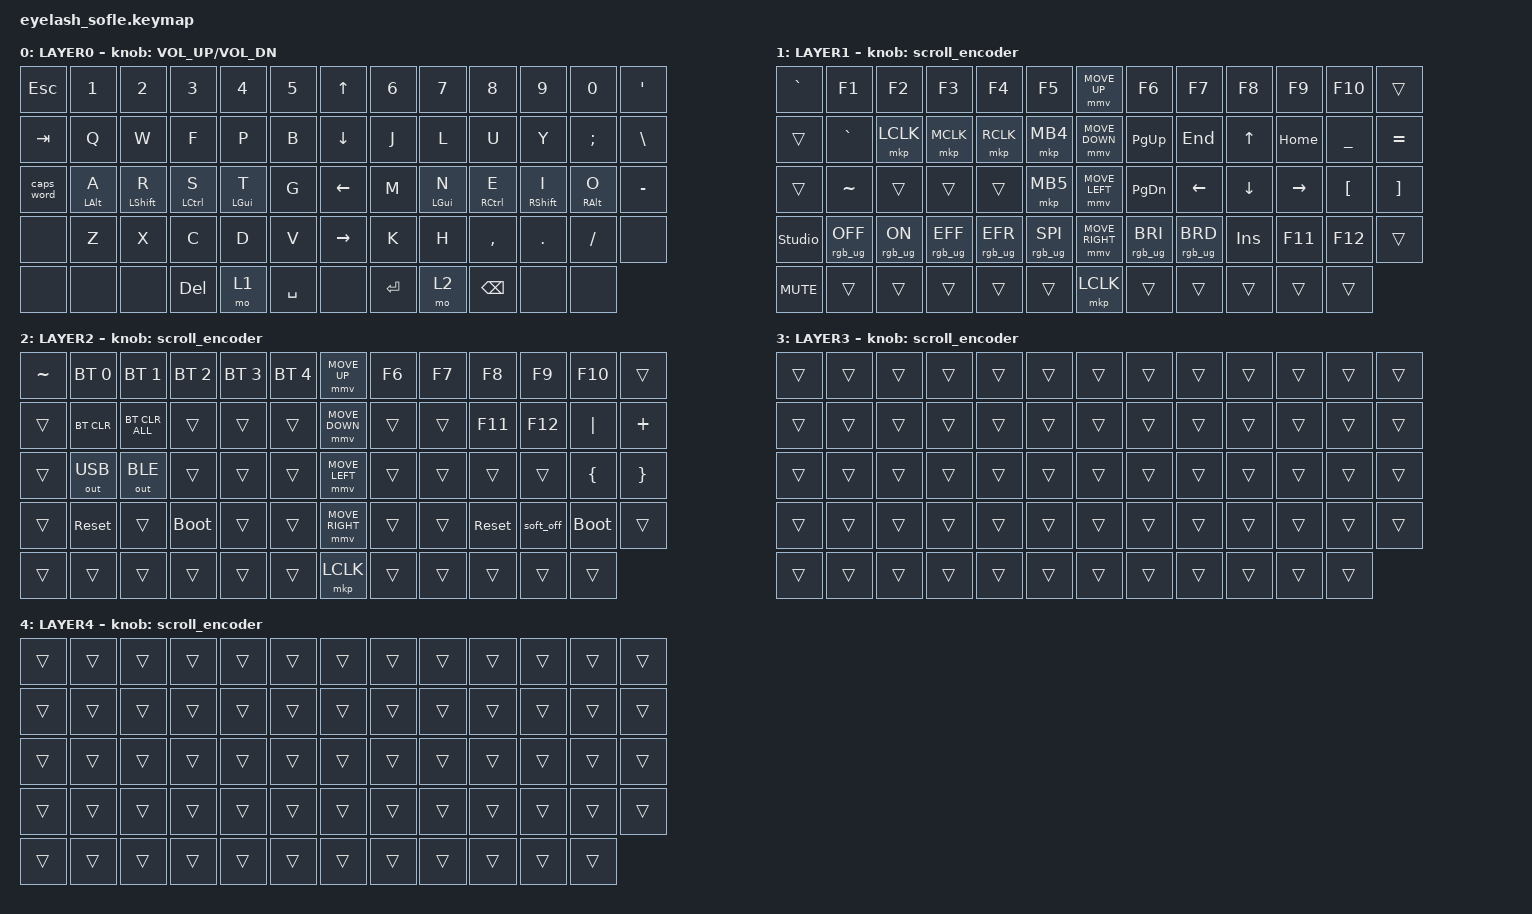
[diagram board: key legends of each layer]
#define ZMK_POINTING_DEFAULT_MOVE_VAL 1200  // 600
#define ZMK_POINTING_DEFAULT_SCRL_VAL 25   // 10

#include <input/processors.dtsi>
#include <zephyr/dt-bindings/input/input-event-codes.h>
#include <behaviors.dtsi>
#include <dt-bindings/zmk/bt.h>
#include <dt-bindings/zmk/keys.h>
#include <dt-bindings/zmk/outputs.h>
#include <dt-bindings/zmk/pointing.h>
#include <dt-bindings/zmk/rgb.h>

&mmv_input_listener { input-processors = <&zip_xy_scaler 2 1>; };

&msc_input_listener { input-processors = <&zip_scroll_scaler 2 1>; };

&msc {
    acceleration-exponent = <1>;      // 0
    time-to-max-speed-ms = <100>;       // 300
    delay-ms = <0>;                   // 0
};

&mmv {
    time-to-max-speed-ms = <500>;
    acceleration-exponent = <1>;
    trigger-period-ms = <16>;
};

&mt {
    flavor = "balanced";
    tapping-term-ms = <280>;
    quick-tap-ms = <175>;
    require-prior-idle-ms = <150>;
    hold-trigger-on-release;
};

&soft_off { hold-time-ms = <2000>; };

/ {
    scroll_encoder: scroll_encoder {
        compatible = "zmk,behavior-sensor-rotate";
        #sensor-binding-cells = <0>;
        bindings = <&msc SCRL_DOWN>, <&msc SCRL_UP>;
        tap-ms = <100>;
    };

    behaviors {
    };

    combos {
        compatible = "zmk,combos";

        softoff {
            bindings = <&soft_off>;
            key-positions = <14 28 40>;
        };
    };

    macros {
        SHIFT_MCLK: SHIFT_MCLK {
            compatible = "zmk,behavior-macro";
            #binding-cells = <0>;
            bindings =
                <&macro_press>,
                <&kp LEFT_SHIFT>,
                <&macro_press>,
                <&mkp MB3>,
                <&macro_pause_for_release>,
                <&macro_release>,
                <&kp LEFT_SHIFT &mkp MB3>;

            label = "SHIFT_MCLK";
        };
    };

    keymap {
        compatible = "zmk,keymap";

        layer0 {
            bindings = <
&kp ESC     &kp N1       &kp N2        &kp N3        &kp N4     &kp N5       &kp UP_ARROW     &kp N6     &kp N7       &kp N8       &kp N9        &kp N0      &kp APOS
&kp TAB     &kp Q        &kp W         &kp F         &kp P      &kp B        &kp DOWN_ARROW   &kp J      &kp L        &kp U        &kp Y         &kp SEMI    &kp BSLH
&caps_word  &mt LALT A   &mt LSHFT R   &mt LCTRL S   &mt LGUI T &kp G        &kp LEFT_ARROW   &kp M      &mt LGUI N   &mt RCTRL E  &mt RSHFT I   &mt RALT O  &kp MINUS
&none       &kp Z        &kp X         &kp C         &kp D      &kp V        &kp RIGHT_ARROW  &kp K      &kp H        &kp COMMA    &kp DOT       &kp FSLH    &none
&none       &none        &none         &kp DEL       &mo 1      &kp SPACE    &none            &kp ENTER  &mo 2        &kp BSPC     &none         &none
            >;

            sensor-bindings = <&inc_dec_kp C_VOLUME_UP C_VOL_DN>;
            display-name = "LAYER0";
        };

        layer_1 {
            bindings = <
&kp GRAVE      &kp F1           &kp F2          &kp F3           &kp F4           &kp F5             &mmv MOVE_UP     &kp F6           &kp F7           &kp F8      &kp F9     &kp F10           &trans
&trans         &kp GRAVE        &mkp LCLK       &mkp MCLK        &mkp RCLK        &mkp MB4           &mmv MOVE_DOWN   &kp PG_UP        &kp END          &kp UP      &kp HOME   &kp UNDER         &kp EQUAL
&trans         &kp TILDE        &trans          &trans           &trans           &mkp MB5           &mmv MOVE_LEFT   &kp PG_DN        &kp LEFT         &kp DOWN    &kp RIGHT  &kp LEFT_BRACKET  &kp RIGHT_BRACKET
&studio_unlock &rgb_ug RGB_OFF  &rgb_ug RGB_ON  &rgb_ug RGB_EFF  &rgb_ug RGB_EFR  &rgb_ug RGB_SPI    &mmv MOVE_RIGHT  &rgb_ug RGB_BRI  &rgb_ug RGB_BRD  &kp INSERT  &kp F11    &kp F12           &trans
&kp C_MUTE     &trans           &trans          &trans           &trans           &trans             &mkp LCLK        &trans           &trans           &trans      &trans     &trans
            >;

            display-name = "LAYER1";
            sensor-bindings = <&scroll_encoder>;
        };

        layer_2 {
            bindings = <
&kp TILDE  &bt BT_SEL 0  &bt BT_SEL 1    &bt BT_SEL 2  &bt BT_SEL 3  &bt BT_SEL 4    &mmv MOVE_UP     &kp F6  &kp F7  &kp F8      &kp F9     &kp F10      &trans
&trans     &bt BT_CLR    &bt BT_CLR_ALL  &trans        &trans        &trans          &mmv MOVE_DOWN   &trans  &trans  &kp F11     &kp F12    &kp PIPE     &kp PLUS
&trans     &out OUT_USB  &out OUT_BLE    &trans        &trans        &trans          &mmv MOVE_LEFT   &trans  &trans  &trans      &trans     &kp LBRC     &kp RBRC
&trans     &sys_reset    &trans          &bootloader   &trans        &trans          &mmv MOVE_RIGHT  &trans  &trans  &sys_reset  &soft_off  &bootloader  &trans
&trans     &trans        &trans          &trans        &trans        &trans          &mkp LCLK        &trans  &trans  &trans      &trans     &trans
            >;

            display-name = "LAYER2";
            sensor-bindings = <&scroll_encoder>;
        };

        layer_3 {
            bindings = <
&trans  &trans  &trans  &trans  &trans  &trans    &trans  &trans  &trans  &trans  &trans  &trans  &trans
&trans  &trans  &trans  &trans  &trans  &trans    &trans  &trans  &trans  &trans  &trans  &trans  &trans
&trans  &trans  &trans  &trans  &trans  &trans    &trans  &trans  &trans  &trans  &trans  &trans  &trans
&trans  &trans  &trans  &trans  &trans  &trans    &trans  &trans  &trans  &trans  &trans  &trans  &trans
&trans  &trans  &trans  &trans  &trans  &trans    &trans  &trans  &trans  &trans  &trans  &trans
            >;

            display-name = "LAYER3";
            sensor-bindings = <&scroll_encoder>;
        };

        layer_4 {
            bindings = <
&trans  &trans  &trans  &trans  &trans  &trans    &trans  &trans  &trans  &trans  &trans  &trans  &trans
&trans  &trans  &trans  &trans  &trans  &trans    &trans  &trans  &trans  &trans  &trans  &trans  &trans
&trans  &trans  &trans  &trans  &trans  &trans    &trans  &trans  &trans  &trans  &trans  &trans  &trans
&trans  &trans  &trans  &trans  &trans  &trans    &trans  &trans  &trans  &trans  &trans  &trans  &trans
&trans  &trans  &trans  &trans  &trans  &trans    &trans  &trans  &trans  &trans  &trans  &trans
            >;

            display-name = "LAYER4";
            sensor-bindings = <&scroll_encoder>;
        };
    };
};


